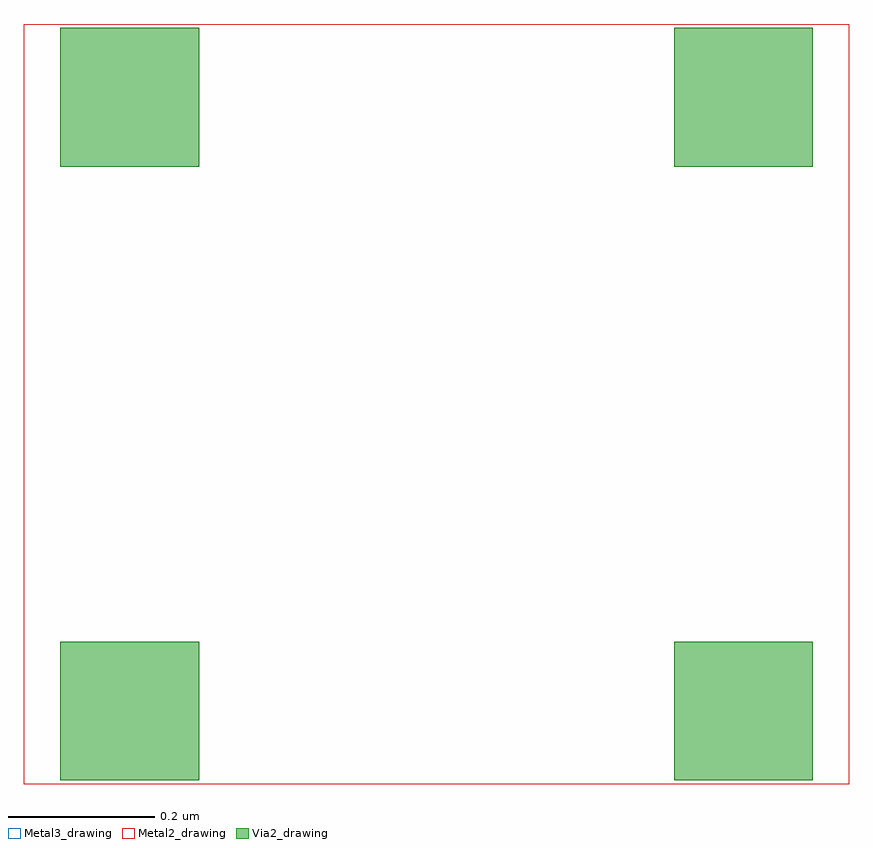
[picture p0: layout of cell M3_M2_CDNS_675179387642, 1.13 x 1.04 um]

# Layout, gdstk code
import gdstk
lib = gdstk.Library(unit=1e-6, precision=1e-09)
def R(c, l, rs):  # rectangles x0, y0, x1, y1
    for r in rs: c.add(gdstk.rectangle(r[:2], r[2:], *l))
Metal2_drawing = (10, 0)
Via2_drawing = (29, 0)
Metal3_drawing = (30, 0)

m3_m2_cdns_675179387642 = lib.new_cell('M3_M2_CDNS_675179387642')
R(m3_m2_cdns_675179387642, Metal2_drawing, [(-0.565,-0.52,0.565,0.52)])
R(m3_m2_cdns_675179387642, Via2_drawing, [(-0.515,-0.515,-0.325,-0.325), (0.325,-0.515,0.515,-0.325), (-0.515,0.325,-0.325,0.515), (0.325,0.325,0.515,0.515)])
R(m3_m2_cdns_675179387642, Metal3_drawing, [(-0.565,-0.52,0.565,0.52)])

lib.write_gds('M3_M2_CDNS_675179387642.gds')
